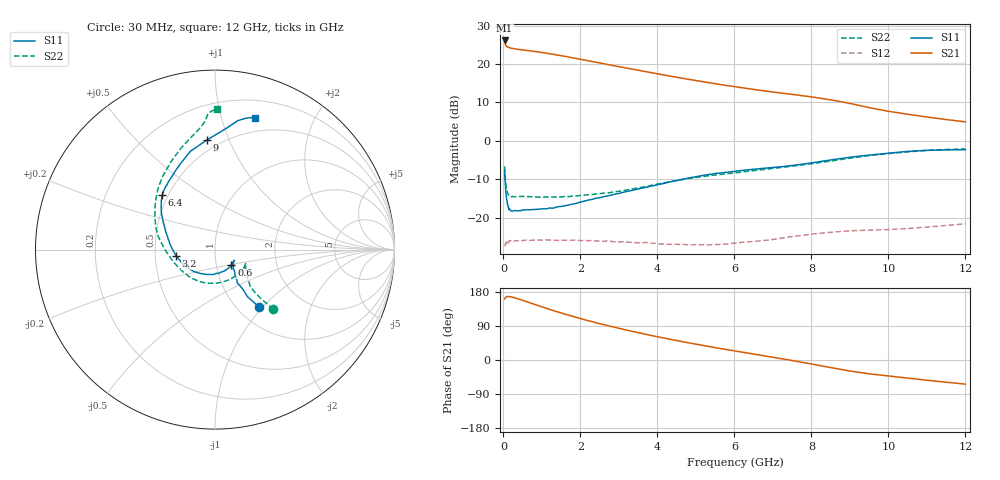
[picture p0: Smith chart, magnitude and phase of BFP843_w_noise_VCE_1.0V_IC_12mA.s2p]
! Infineon Technologies  Discrete & RF Semiconductors
! BFP843
! VCE =  1.0 V,  IC =  12 mA
! Common Emitter S-Parameters:  Aug 2013
# GHz  S  MA  R  50
!  f  S11  S21  S12  S22
! GHz  MAG  ANG  MAG  ANG  MAG  ANG  MAG  ANG
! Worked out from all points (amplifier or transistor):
!   103 points, 30 MHz to 12 GHz, reference 50 ohm
!   highest |S21| = 26.2 dB at 30 MHz (marker M1)
!   |S21| within 3 dB of that: start of sweep to 903.2 MHz
!   unconditionally stable (mu >= 1): 117.7 MHz to 126.8 MHz; 135.6 MHz to 143.8 MHz; 159.2 MHz to 11.14 GHz
!   at 400 MHz: K = 1.02, MAG = 24.1 dB, |S12| = -26.1 dB
!   at 3.7 GHz: K = 1.31, MAG = 18.9 dB, |S12| = -26.5 dB
!   at 12 GHz: K = 0.90, MSG = 13.3 dB, |S12| = -21.6 dB
!   lowest NFmin = 0.94 dB at 450 MHz
!   S11 on the Smith chart (normalised r, x): 30 MHz: 1.25, -0.95; 600 MHz: 1.18, -0.21; 3.2 GHz: 0.64, -0.05; 6.4 GHz: 0.47, +0.34; 9 GHz: 0.43, +0.83; 12 GHz: 0.36, +1.28
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0.03  0.4034 -52.5  20.32 161.0  0.0425 29.1  0.4658 -45.6
0.04  0.3183 -55.4  18.91 162.3  0.0437 22.9  0.377 -46.8
0.05  0.2703 -54.8  18.12 164.9  0.0446 18.2  0.3245 -47.0
0.07  0.1971 -52.9  17.18 166.4  0.0471 14.2  0.2541 -42.8
0.13  0.1386 -41.0  16.54 167.8  0.0487 7.8  0.1969 -30.9
0.3  0.1243 -29.6  15.76 163.8  0.0499 3.3  0.187 -24.9
0.6  0.1268 -43.6  15.08 154.0  0.0511 1.9  0.1882 -36.7
1  0.1302 -68.0  14.15 140.2  0.051 -0.8  0.1849 -58.0
1.3  0.1329 -86.9  13.4 130.3  0.051 -2.1  0.1853 -74.6
1.6  0.1428 -104.5  12.62 121.0  0.0508 -2.5  0.1888 -90.0
2.1  0.164 -129.7  11.3 106.5  0.0504 -5.9  0.1963 -113.9
2.7  0.1918 -154.0  9.894 90.9  0.0499 -6.6  0.2101 -138.0
3.2  0.2192 -170.6  8.864 79.0  0.0482 -7.4  0.2291 -156.0
3.7  0.2482 174.5  7.968 67.8  0.0475 -8.0  0.2544 -170.8
4.1  0.2746 164.6  7.321 59.3  0.0452 -6.8  0.2801 179.5
5  0.3413 149.1  6.107 41.8  0.0446 -3.8  0.3336 164.2
6.1  0.4062 137.4  4.995 22.4  0.0469 1.6  0.3881 149.5
6.4  0.4217 134.2  4.763 17.3  0.0486 2.8  0.4049 145.9
8.5  0.5643 104.1  3.423 -20.0  0.0644 -0.9  0.5461 116.9
9  0.612 94.3  3.076 -29.0  0.0674 -3.9  0.5953 108.7
10.5  0.7295 80.0  2.223 -47.7  0.0721 -9.8  0.7181 94.4
12  0.7663 73.2  1.769 -63.7  0.0833 -15.8  0.7839 89.0
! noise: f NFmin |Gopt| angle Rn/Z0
0.45  0.94  0.04  5  0.02
0.9  0.95  0.04  16  0.05
1.5  0.97  0.04  24  0.11
1.9  0.99  0.04  34  0.18
2.4  1.02  0.03  44  0.24
3.5  1.07  0.01  58  0.27
5.5  1.19  0.18  -121  0.33
10  1.8  0.5  -65  0.45
